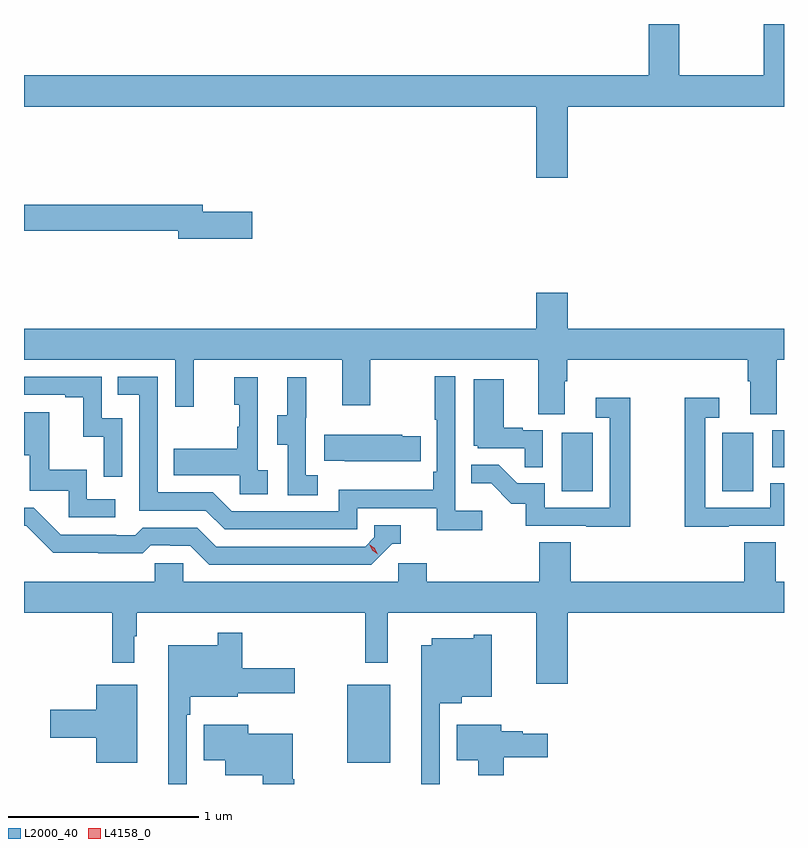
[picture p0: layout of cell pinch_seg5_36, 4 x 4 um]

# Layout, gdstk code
import gdstk
lib = gdstk.Library(unit=1e-6, precision=1e-09)
def R(c, l, rs):  # rectangles x0, y0, x1, y1
    for r in rs: c.add(gdstk.rectangle(r[:2], r[2:], *l))
def P(c, l, *ps):  # polygons
    for p in ps: c.add(gdstk.Polygon(p, *l))
L2000_40 = (2000, 40)
L4158_0 = (4158, 0)

pinch_seg5_36 = lib.new_cell('pinch_seg5_36')
R(pinch_seg5_36, L2000_40, [(1111.064,907.919,1111.291,908.329), (1112.192,909.348,1112.356,909.655), (1113.038,909.348,1113.202,909.655), (1113.3,909.475,1113.363,909.669)])
P(pinch_seg5_36, L2000_40, [(1112.224,911.372),(1113.363,911.372),(1113.363,911.807),(1113.256,911.807),(1113.256,911.536),(1112.811,911.536),(1112.811,911.807),(1112.651,911.807),(1112.651,911.536),(1109.363,911.536),(1109.363,911.372),(1112.06,911.372),(1112.06,910.998),(1112.224,910.998)],
  [(1110.565,910.82),(1110.304,910.82),(1110.304,910.856),(1109.363,910.856),(1109.363,910.72),(1110.176,910.72),(1110.176,910.678),(1110.565,910.678)],
  [(1109.363,910.04),(1110.159,910.04),(1110.159,909.792),(1110.257,909.792),(1110.257,910.04),(1111.037,910.04),(1111.037,909.801),(1111.185,909.801),(1111.185,910.04),(1112.069,910.04),(1112.069,909.754),(1112.209,909.754),(1112.209,909.928),(1112.222,909.928),(1112.222,910.04),(1113.173,910.04),(1113.173,909.928),(1113.185,909.928),(1113.185,909.754),(1113.325,909.754),(1113.325,910.04),(1113.363,910.04),(1113.363,910.204),(1112.224,910.204),(1112.224,910.393),(1112.06,910.393),(1112.06,910.204),(1109.363,910.204)],
  [(1111.774,909.244),(1111.632,909.244),(1111.632,909.952),(1111.524,909.952),(1111.524,909.724),(1111.536,909.724),(1111.536,909.451),(1111.516,909.451),(1111.516,909.355),(1111.02,909.355),(1111.02,909.243),(1110.456,909.243),(1110.357,909.342),(1110.066,909.342),(1110.066,909.951),(1109.857,909.951),(1109.857,909.855),(1109.97,909.855),(1109.97,909.246),(1110.32,909.246),(1110.419,909.147),(1111.116,909.147),(1111.116,909.258),(1111.535,909.258),(1111.535,909.142),(1111.774,909.142)],
  [(1109.88,909.732),(1109.772,909.732),(1109.772,909.951),(1109.363,909.951),(1109.363,909.855),(1109.579,909.855),(1109.579,909.843),(1109.675,909.843),(1109.675,909.635),(1109.784,909.635),(1109.784,909.423),(1109.88,909.423)],
  [(1110.646,909.458),(1110.594,909.458),(1110.594,909.949),(1110.47,909.949),(1110.47,909.804),(1110.496,909.804),(1110.496,909.686),(1110.486,909.686),(1110.486,909.571),(1110.151,909.571),(1110.151,909.431),(1110.498,909.431),(1110.498,909.333),(1110.646,909.333)],
  [(1110.91,909.431),(1110.846,909.431),(1110.846,909.735),(1110.848,909.735),(1110.848,909.949),(1110.749,909.949),(1110.749,909.747),(1110.695,909.747),(1110.695,909.592),(1110.75,909.592),(1110.75,909.328),(1110.91,909.328)],
  [(1112.094,909.669),(1111.988,909.669),(1111.988,909.682),(1111.888,909.682),(1111.888,909.937),(1111.73,909.937),(1111.73,909.588),(1111.752,909.588),(1111.752,909.573),(1111.999,909.573),(1111.999,909.475),(1112.094,909.475)],
  [(1112.554,909.841),(1112.373,909.841),(1112.373,909.735),(1112.445,909.735),(1112.445,909.261),(1112.103,909.261),(1112.103,909.39),(1111.959,909.39),(1111.861,909.488),(1111.717,909.488),(1111.717,909.389),(1111.821,909.389),(1111.928,909.282),(1112.005,909.282),(1112.005,909.165),(1112.323,909.165),(1112.323,909.16),(1112.554,909.16)],
  [(1113.071,909.165),(1113.363,909.165),(1113.363,909.39),(1113.291,909.39),(1113.291,909.261),(1112.949,909.261),(1112.949,909.735),(1113.022,909.735),(1113.022,909.841),(1112.841,909.841),(1112.841,909.16),(1113.071,909.16)],
  [(1109.842,909.306),(1109.694,909.306),(1109.694,909.46),(1109.495,909.46),(1109.495,909.763),(1109.363,909.763),(1109.363,909.537),(1109.393,909.537),(1109.393,909.351),(1109.598,909.351),(1109.598,909.21),(1109.842,909.21)],
  [(1111.451,909.636),(1111.353,909.636),(1111.353,909.646),(1110.943,909.646),(1110.943,909.509),(1111.051,909.509),(1111.051,909.506),(1111.451,909.506)],
  [(1111.302,909.072),(1111.345,909.072),(1111.345,909.168),(1111.206,909.168),(1111.206,909.105),(1111.158,909.057),(1110.375,909.057),(1110.276,909.156),(1109.987,909.156),(1109.948,909.117),(1109.849,909.117),(1109.849,909.12),(1109.556,909.12),(1109.415,909.261),(1109.363,909.261),(1109.363,909.165),(1109.376,909.165),(1109.518,909.023),(1109.754,909.023),(1109.754,909.021),(1109.987,909.021),(1110.029,909.063),(1110.132,909.063),(1110.132,909.06),(1110.239,909.06),(1110.338,908.961),(1111.191,908.961)],
  [(1112.224,908.708),(1113.363,908.708),(1113.363,908.872),(1113.32,908.872),(1113.32,909.08),(1113.155,909.08),(1113.155,908.872),(1112.24,908.872),(1112.24,909.08),(1112.075,909.08),(1112.075,908.872),(1111.484,908.872),(1111.484,908.97),(1111.332,908.97),(1111.332,908.872),(1110.201,908.872),(1110.201,908.97),(1110.051,908.97),(1110.051,908.872),(1109.363,908.872),(1109.363,908.708),(1109.827,908.708),(1109.827,908.445),(1109.944,908.445),(1109.944,908.585),(1109.956,908.585),(1109.956,908.708),(1111.159,908.708),(1111.159,908.445),(1111.278,908.445),(1111.278,908.708),(1112.06,908.708),(1112.06,908.334),(1112.224,908.334)],
  [(1110.219,908.171),(1110.239,908.171),(1110.239,908.267),(1110.489,908.267),(1110.489,908.285),(1110.787,908.285),(1110.787,908.415),(1110.512,908.415),(1110.512,908.602),(1110.384,908.602),(1110.384,908.536),(1110.122,908.536),(1110.122,907.807),(1110.219,907.807)],
  [(1111.551,908.231),(1111.666,908.231),(1111.666,908.267),(1111.825,908.267),(1111.825,908.593),(1111.731,908.593),(1111.731,908.575),(1111.508,908.575),(1111.508,908.536),(1111.454,908.536),(1111.454,907.807),(1111.551,907.807)],
  [(1109.959,908.329),(1109.744,908.329),(1109.744,908.198),(1109.502,908.198),(1109.502,908.051),(1109.744,908.051),(1109.744,907.919),(1109.959,907.919)],
  [(1111.889,907.949),(1112.119,907.949),(1112.119,908.071),(1111.989,908.071),(1111.989,908.084),(1111.876,908.084),(1111.876,908.119),(1111.64,908.119),(1111.64,907.931),(1111.754,907.931),(1111.754,907.853),(1111.889,907.853)],
  [(1110.786,907.831),(1110.778,907.831),(1110.778,908.071),(1110.544,908.071),(1110.544,908.119),(1110.308,908.119),(1110.308,907.931),(1110.422,907.931),(1110.422,907.853),(1110.62,907.853),(1110.62,907.807),(1110.786,907.807)])
P(pinch_seg5_36, L4158_0, [(1111.226,909.016),(1111.195,909.036),(1111.179,909.068),(1111.179,909.069),(1111.18,909.069),(1111.21,909.049),(1111.226,909.016),(1111.226,909.016)])

lib.write_gds('pinch_seg5_36.gds')
